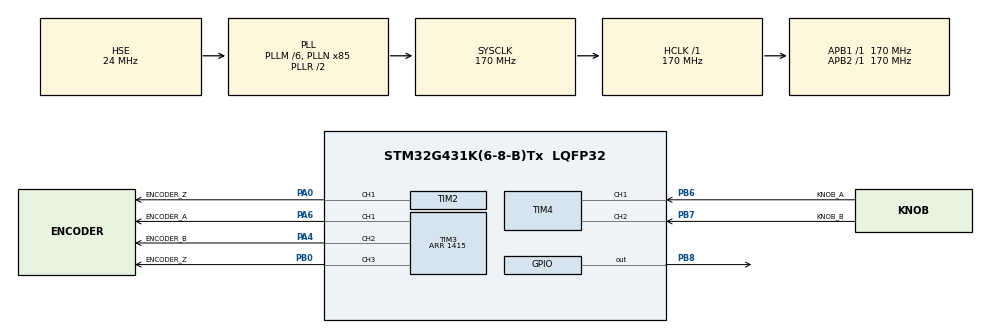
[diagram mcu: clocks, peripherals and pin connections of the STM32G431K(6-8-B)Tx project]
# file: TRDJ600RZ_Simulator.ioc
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Mcu.Family=STM32G4
Mcu.Name=STM32G431K(6-8-B)Tx
Mcu.Package=LQFP32
NVIC.PriorityGroup=NVIC_PRIORITYGROUP_4
PA0.GPIO_Label=ENCODER_Z
PA0.GPIO_Speed=GPIO_SPEED_FREQ_VERY_HIGH
PA0.Signal=S_TIM2_CH1
PA13.GPIO_Label=T_SWDIO
PA13.Mode=Serial_Wire
PA13.Signal=SYS_JTMS-SWDIO
PA14.GPIO_Label=T_SWCLK
PA14.Mode=Serial_Wire
PA14.Signal=SYS_JTCK-SWCLK
PA2.GPIO_Label=USART2_TX [ST-LINKV3E_VCP_RX]
PA2.Signal=USART2_TX
PA3.GPIO_Label=USART2_RX [ST-LINKV3E_VCP_TX]
PA3.Signal=USART2_RX
PA4.GPIO_Label=ENCODER_B
PA4.GPIO_Speed=GPIO_SPEED_FREQ_VERY_HIGH
PA4.Signal=S_TIM3_CH2
PA6.GPIO_Label=ENCODER_A
PA6.GPIO_Speed=GPIO_SPEED_FREQ_VERY_HIGH
PA6.Signal=S_TIM3_CH1
PB0.GPIO_Label=ENCODER_Z
PB0.GPIO_Speed=GPIO_SPEED_FREQ_VERY_HIGH
PB0.Signal=S_TIM3_CH3
PB3.GPIO_Label=T_SWO
PB3.Signal=SYS_JTDO-SWO
PB6.GPIO_Label=KNOB_A
PB6.Signal=S_TIM4_CH1
PB7.GPIO_Label=KNOB_B
PB7.Signal=S_TIM4_CH2
PB8-BOOT0.Signal=GPIO_Output
PF0-OSC_IN.Mode=HSE-External-Oscillator
PF0-OSC_IN.Signal=RCC_OSC_IN
PF1-OSC_OUT.Mode=HSE-External-Oscillator
PF1-OSC_OUT.Signal=RCC_OSC_OUT
ProjectManager.HeapSize=0x200
ProjectManager.StackSize=0x400
ProjectManager.TargetToolchain=MDK-ARM V5.32
RCC.ADC12Freq_Value=170000000
RCC.AHBFreq_Value=170000000
RCC.APB1Freq_Value=170000000
RCC.APB1TimFreq_Value=170000000
RCC.APB2Freq_Value=170000000
RCC.APB2TimFreq_Value=170000000
RCC.CortexFreq_Value=170000000
RCC.EXTERNAL_CLOCK_VALUE=12288000
RCC.HCLKFreq_Value=170000000
RCC.HSE_VALUE=24000000
RCC.HSI48_VALUE=48000000
RCC.HSI_VALUE=16000000
RCC.LSE_VALUE=32768
RCC.PLLM=RCC_PLLM_DIV6
RCC.PLLN=85
RCC.PLLSourceVirtual=RCC_PLLSOURCE_HSE
RCC.SYSCLKFreq_VALUE=170000000
RCC.SYSCLKSource=RCC_SYSCLKSOURCE_PLLCLK
RCC.USBFreq_Value=170000000
RCC.VCOOutputFreq_Value=340000000
SH.S_TIM2_CH1.0=TIM2_CH1,PWM Generation1 CH1
SH.S_TIM3_CH1.0=TIM3_CH1,Output Compare1 CH1
SH.S_TIM3_CH2.0=TIM3_CH2,Output Compare2 CH2
SH.S_TIM3_CH3.0=TIM3_CH3,Output Compare3 CH3
SH.S_TIM4_CH1.0=TIM4_CH1,Encoder_Interface
SH.S_TIM4_CH2.0=TIM4_CH2,Encoder_Interface
TIM2.AutoReloadPreload=TIM_AUTORELOAD_PRELOAD_ENABLE
TIM2.Channel-PWM\ Generation1\ CH1=TIM_CHANNEL_1
TIM2.PeriodNoDither=1199
TIM2.PulseNoDither_1=2
TIM3.AutoReloadPreload=TIM_AUTORELOAD_PRELOAD_ENABLE
TIM3.Channel-Output\ Compare1\ CH1=TIM_CHANNEL_1
TIM3.Channel-Output\ Compare2\ CH2=TIM_CHANNEL_2
TIM3.Channel-Output\ Compare3\ CH3=TIM_CHANNEL_3
TIM3.CounterMode=TIM_COUNTERMODE_UP
TIM3.OC1Preload=ENABLE
TIM3.OC2Preload=ENABLE
TIM3.OC3Preload=ENABLE
TIM3.OCMode_1=TIM_OCMODE_TOGGLE
TIM3.OCMode_2=TIM_OCMODE_TOGGLE
TIM3.OCMode_3=TIM_OCMODE_TOGGLE
TIM3.PeriodNoDither=1415
TIM3.PulseNoDither_1=0
TIM3.PulseNoDither_2=708
TIM3.PulseNoDither_3=0
TIM3.TIM_MasterOutputTrigger=TIM_TRGO_UPDATE
TIM4.EncoderMode=TIM_ENCODERMODE_TI12
TIM4.IC1Filter=8
TIM4.IC2Filter=8
VP_SYS_VS_DBSignals.Mode=DisableDeadBatterySignals
VP_TIM2_VS_ClockSourceITR.Mode=TriggerSource_ITR2
VP_TIM2_VS_ControllerModeClock.Mode=Clock Mode
VP_TIM3_VS_ClockSourceINT.Mode=Internal
board=NUCLEO-G431KB

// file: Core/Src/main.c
/* USER CODE BEGIN Header */
/**
  ******************************************************************************
  * @file           : main.c
  * @brief          : Main program body
  ******************************************************************************
  * @attention
  *
  * Copyright (c) 2026 STMicroelectronics.
  * All rights reserved.
  *
  * This software is licensed under terms that can be found in the LICENSE file
  * in the root directory of this software component.
  * If no LICENSE file comes with this software, it is provided AS-IS.
  *
  ******************************************************************************
  */
/* USER CODE END Header */
#include "main.h"

/* USER CODE BEGIN Includes */
#include "SpindleSim.h"
#include "KnobInput.h"
/* USER CODE END Includes */

TIM_HandleTypeDef htim2;
TIM_HandleTypeDef htim3;
TIM_HandleTypeDef htim4;

void SystemClock_Config(void);
static void MX_GPIO_Init(void);
static void MX_TIM3_Init(void);
static void MX_TIM4_Init(void);
static void MX_TIM2_Init(void);

int main(void)
{

  /* MCU Configuration--------------------------------------------------------*/

  /* Reset of all peripherals, Initializes the Flash interface and the Systick. */
  HAL_Init();

  /* Configure the system clock */
  SystemClock_Config();

  /* Initialize all configured peripherals */
  MX_GPIO_Init();
  MX_TIM3_Init();
  MX_TIM4_Init();
  MX_TIM2_Init();
  /* USER CODE BEGIN 2 */
    SpindleSim_Init();
    KnobInput_Init();
  /* USER CODE END 2 */

  /* Infinite loop */
  /* USER CODE BEGIN WHILE */
#if (Z_SIGNAL_MODE != 0)
    SpindleSim_TestTask();   /* verification: speed from the test values, the knob does not command */
#endif
    while (1) {
    /* USER CODE END WHILE */

    /* USER CODE BEGIN 3 */
        (void)SpindleSim_MeasureRpm();
        (void)KnobInput_Poll();
        static uint32_t t_log = 0U;

        if ((HAL_GetTick() - t_log) >= 250U) {
            long  set10 = (long)(SpindleSim_GetRpm() * 10.0f + 0.5f);   /* decimi di rpm */
            float m     = SpindleSim_MeasureRpm();
            long  mis10 = (long)(m * 10.0f + 0.5f);                     /* -10 = fermo   */

            t_log = HAL_GetTick();
            HAL_GPIO_WritePin(GPIOB, GPIO_PIN_8, GPIO_PIN_SET);         /* ancoraggio */
            printf("set10=%ld mis10=%ld pwm=%lu ARR=%lu CCR=%lu/%lu/%lu knob=%ld\r\n",
                   set10, mis10, (unsigned long)SpindleSim_GetPwmHz(), (unsigned long)TIM3->ARR,
                   (unsigned long)TIM3->CCR1, (unsigned long)TIM3->CCR2, (unsigned long)TIM3->CCR3,
                   (long)KnobInput_GetPosition());
            HAL_GPIO_WritePin(GPIOB, GPIO_PIN_8, GPIO_PIN_RESET);
        }
    }
  /* USER CODE END 3 */
}

void SystemClock_Config(void)
{
  RCC_OscInitTypeDef RCC_OscInitStruct = {0};
  RCC_ClkInitTypeDef RCC_ClkInitStruct = {0};

  /** Configure the main internal regulator output voltage
  */
  HAL_PWREx_ControlVoltageScaling(PWR_REGULATOR_VOLTAGE_SCALE1_BOOST);

  /** Initializes the RCC Oscillators according to the specified parameters
  * in the RCC_OscInitTypeDef structure.
  */
  RCC_OscInitStruct.OscillatorType = RCC_OSCILLATORTYPE_HSE;
  RCC_OscInitStruct.HSEState = RCC_HSE_ON;
  RCC_OscInitStruct.PLL.PLLState = RCC_PLL_ON;
  RCC_OscInitStruct.PLL.PLLSource = RCC_PLLSOURCE_HSE;
  RCC_OscInitStruct.PLL.PLLM = RCC_PLLM_DIV6;
  RCC_OscInitStruct.PLL.PLLN = 85;
  RCC_OscInitStruct.PLL.PLLP = RCC_PLLP_DIV2;
  RCC_OscInitStruct.PLL.PLLQ = RCC_PLLQ_DIV2;
  RCC_OscInitStruct.PLL.PLLR = RCC_PLLR_DIV2;
  if (HAL_RCC_OscConfig(&RCC_OscInitStruct) != HAL_OK)
  {
    Error_Handler();
  }

  /** Initializes the CPU, AHB and APB buses clocks
  */
  RCC_ClkInitStruct.ClockType = RCC_CLOCKTYPE_HCLK|RCC_CLOCKTYPE_SYSCLK
                              |RCC_CLOCKTYPE_PCLK1|RCC_CLOCKTYPE_PCLK2;
  RCC_ClkInitStruct.SYSCLKSource = RCC_SYSCLKSOURCE_PLLCLK;
  RCC_ClkInitStruct.AHBCLKDivider = RCC_SYSCLK_DIV1;
  RCC_ClkInitStruct.APB1CLKDivider = RCC_HCLK_DIV1;
  RCC_ClkInitStruct.APB2CLKDivider = RCC_HCLK_DIV1;

  if (HAL_RCC_ClockConfig(&RCC_ClkInitStruct, FLASH_LATENCY_4) != HAL_OK)
  {
    Error_Handler();
  }
}

static void MX_TIM2_Init(void)
{

  TIM_SlaveConfigTypeDef sSlaveConfig = {0};
  TIM_MasterConfigTypeDef sMasterConfig = {0};
  TIM_OC_InitTypeDef sConfigOC = {0};

  htim2.Instance = TIM2;
  htim2.Init.Prescaler = 0;
  htim2.Init.CounterMode = TIM_COUNTERMODE_UP;
  htim2.Init.Period = 1199;
  htim2.Init.ClockDivision = TIM_CLOCKDIVISION_DIV1;
  htim2.Init.AutoReloadPreload = TIM_AUTORELOAD_PRELOAD_ENABLE;
  if (HAL_TIM_Base_Init(&htim2) != HAL_OK)
  {
    Error_Handler();
  }
  if (HAL_TIM_PWM_Init(&htim2) != HAL_OK)
  {
    Error_Handler();
  }
  sSlaveConfig.SlaveMode = TIM_SLAVEMODE_EXTERNAL1;
  sSlaveConfig.InputTrigger = TIM_TS_ITR2;
  if (HAL_TIM_SlaveConfigSynchro(&htim2, &sSlaveConfig) != HAL_OK)
  {
    Error_Handler();
  }
  sMasterConfig.MasterOutputTrigger = TIM_TRGO_RESET;
  sMasterConfig.MasterSlaveMode = TIM_MASTERSLAVEMODE_DISABLE;
  if (HAL_TIMEx_MasterConfigSynchronization(&htim2, &sMasterConfig) != HAL_OK)
  {
    Error_Handler();
  }
  sConfigOC.OCMode = TIM_OCMODE_PWM1;
  sConfigOC.Pulse = 2;
  sConfigOC.OCPolarity = TIM_OCPOLARITY_HIGH;
  sConfigOC.OCFastMode = TIM_OCFAST_DISABLE;
  if (HAL_TIM_PWM_ConfigChannel(&htim2, &sConfigOC, TIM_CHANNEL_1) != HAL_OK)
  {
    Error_Handler();
  }
  HAL_TIM_MspPostInit(&htim2);

}

static void MX_TIM3_Init(void)
{

  TIM_ClockConfigTypeDef sClockSourceConfig = {0};
  TIM_MasterConfigTypeDef sMasterConfig = {0};
  TIM_OC_InitTypeDef sConfigOC = {0};

  htim3.Instance = TIM3;
  htim3.Init.Prescaler = 0;
  htim3.Init.CounterMode = TIM_COUNTERMODE_UP;
  htim3.Init.Period = 1415;
  htim3.Init.ClockDivision = TIM_CLOCKDIVISION_DIV1;
  htim3.Init.AutoReloadPreload = TIM_AUTORELOAD_PRELOAD_ENABLE;
  if (HAL_TIM_Base_Init(&htim3) != HAL_OK)
  {
    Error_Handler();
  }
  sClockSourceConfig.ClockSource = TIM_CLOCKSOURCE_INTERNAL;
  if (HAL_TIM_ConfigClockSource(&htim3, &sClockSourceConfig) != HAL_OK)
  {
    Error_Handler();
  }
  if (HAL_TIM_OC_Init(&htim3) != HAL_OK)
  {
    Error_Handler();
  }
  sMasterConfig.MasterOutputTrigger = TIM_TRGO_UPDATE;
  sMasterConfig.MasterSlaveMode = TIM_MASTERSLAVEMODE_DISABLE;
  if (HAL_TIMEx_MasterConfigSynchronization(&htim3, &sMasterConfig) != HAL_OK)
  {
    Error_Handler();
  }
  sConfigOC.OCMode = TIM_OCMODE_TOGGLE;
  sConfigOC.Pulse = 0;
  sConfigOC.OCPolarity = TIM_OCPOLARITY_HIGH;
  sConfigOC.OCFastMode = TIM_OCFAST_DISABLE;
  if (HAL_TIM_OC_ConfigChannel(&htim3, &sConfigOC, TIM_CHANNEL_1) != HAL_OK)
  {
    Error_Handler();
  }
  __HAL_TIM_ENABLE_OCxPRELOAD(&htim3, TIM_CHANNEL_1);
  sConfigOC.Pulse = 708;
  if (HAL_TIM_OC_ConfigChannel(&htim3, &sConfigOC, TIM_CHANNEL_2) != HAL_OK)
  {
    Error_Handler();
  }
  __HAL_TIM_ENABLE_OCxPRELOAD(&htim3, TIM_CHANNEL_2);
  sConfigOC.Pulse = 0;
  if (HAL_TIM_OC_ConfigChannel(&htim3, &sConfigOC, TIM_CHANNEL_3) != HAL_OK)
  {
    Error_Handler();
  }
  __HAL_TIM_ENABLE_OCxPRELOAD(&htim3, TIM_CHANNEL_3);
  HAL_TIM_MspPostInit(&htim3);

}

static void MX_TIM4_Init(void)
{

  TIM_Encoder_InitTypeDef sConfig = {0};
  TIM_MasterConfigTypeDef sMasterConfig = {0};

  htim4.Instance = TIM4;
  htim4.Init.Prescaler = 0;
  htim4.Init.CounterMode = TIM_COUNTERMODE_UP;
  htim4.Init.Period = 65535;
  htim4.Init.ClockDivision = TIM_CLOCKDIVISION_DIV1;
  htim4.Init.AutoReloadPreload = TIM_AUTORELOAD_PRELOAD_DISABLE;
  sConfig.EncoderMode = TIM_ENCODERMODE_TI12;
  sConfig.IC1Polarity = TIM_ICPOLARITY_RISING;
  sConfig.IC1Selection = TIM_ICSELECTION_DIRECTTI;
  sConfig.IC1Prescaler = TIM_ICPSC_DIV1;
  sConfig.IC1Filter = 8;
  sConfig.IC2Polarity = TIM_ICPOLARITY_RISING;
  sConfig.IC2Selection = TIM_ICSELECTION_DIRECTTI;
  sConfig.IC2Prescaler = TIM_ICPSC_DIV1;
  sConfig.IC2Filter = 8;
  if (HAL_TIM_Encoder_Init(&htim4, &sConfig) != HAL_OK)
  {
    Error_Handler();
  }
  sMasterConfig.MasterOutputTrigger = TIM_TRGO_RESET;
  sMasterConfig.MasterSlaveMode = TIM_MASTERSLAVEMODE_DISABLE;
  if (HAL_TIMEx_MasterConfigSynchronization(&htim4, &sMasterConfig) != HAL_OK)
  {
    Error_Handler();
  }

}

static void MX_GPIO_Init(void)
{
  GPIO_InitTypeDef GPIO_InitStruct = {0};

  /* GPIO Ports Clock Enable */
  __HAL_RCC_GPIOF_CLK_ENABLE();
  __HAL_RCC_GPIOA_CLK_ENABLE();
  __HAL_RCC_GPIOB_CLK_ENABLE();

  /*Configure GPIO pin Output Level */
  HAL_GPIO_WritePin(GPIOB, GPIO_PIN_8, GPIO_PIN_RESET);

  /*Configure GPIO pins : USART2_TX_Pin USART2_RX_Pin */
  GPIO_InitStruct.Pin = USART2_TX_Pin|USART2_RX_Pin;
  GPIO_InitStruct.Mode = GPIO_MODE_AF_PP;
  GPIO_InitStruct.Pull = GPIO_NOPULL;
  GPIO_InitStruct.Speed = GPIO_SPEED_FREQ_LOW;
  GPIO_InitStruct.Alternate = GPIO_AF7_USART2;
  HAL_GPIO_Init(GPIOA, &GPIO_InitStruct);

  /*Configure GPIO pin : PB8 */
  GPIO_InitStruct.Pin = GPIO_PIN_8;
  GPIO_InitStruct.Mode = GPIO_MODE_OUTPUT_PP;
  GPIO_InitStruct.Pull = GPIO_NOPULL;
  GPIO_InitStruct.Speed = GPIO_SPEED_FREQ_LOW;
  HAL_GPIO_Init(GPIOB, &GPIO_InitStruct);

}

void Error_Handler(void)
{
    __disable_irq();
    while (1) {
    }
}
